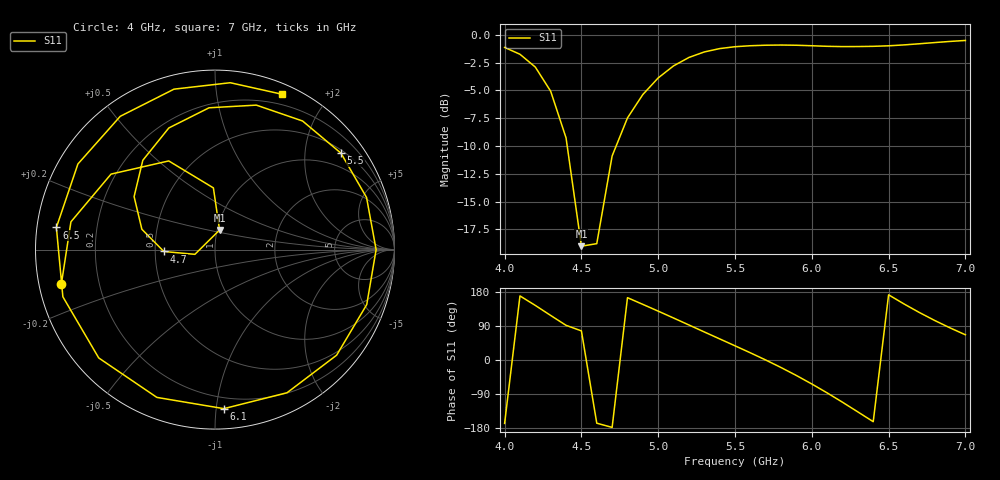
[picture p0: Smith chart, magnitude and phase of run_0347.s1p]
! Touchstone file exported from HFSS 2024.2.0
!  File:  C:/Users/wsak9/Desktop/Sim Fast/Widenad Patch/WP_AI_V1_sweep.aedt
!  Generated:  05:43:24 AM Oct 14, 2026
!  Design:  A1_model
!  Project:  WP_AI_V1_sweep
!  Setup:  Setup1
!  Solution:  Sweep
! Variables:
!  Air_gap = 4.7mm
!  Curve_Amp1 = 2.09
!  Curve_len1 = 1
!  Curve_pos = 12.785mm
!  Extra = 4.94mm
!  H_sub = 0.79mm
!  L_Patch = 21.57mm
!  L_Patch1 = 17.27mm
!  Sx = 4.43mm
!  Sy = 2.32mm
!  WS = 1.33mm
!  W_Patch = 16.37mm
!  W_Patch1 = 12.33mm
!Data is not renormalized
# GHz S MA
! Terminal data exported
! Port[1] = 1
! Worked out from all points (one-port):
!   31 points, 4 GHz to 7 GHz, reference per port
!   lowest |S11| = -19.0 dB at 4.5 GHz (marker M1), VSWR 1.25
!   |S11| at or under -10 dB: 4.407 GHz to 4.726 GHz (318.8 MHz wide, 6.98 % of centre)
!   S11 on the Smith chart (normalised r, x): 4 GHz: 0.07, -0.11; 4.7 GHz: 0.56, -0.01; 5.5 GHz: 0.58, +2.84; 6.1 GHz: 0.13, -1.05; 6.5 GHz: 0.06, +0.07; 7 GHz: 0.10, +1.52
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4  0.8774 -167.3
4.1  0.8174 169.1
4.2  0.7158 144.0
4.3  0.5573 117.6
4.4  0.3439 91.5
4.5  0.1121 76.9
4.6  0.115 -166.7
4.7  0.2851 -177.9
4.8  0.4229 164.5
4.9  0.5388 146.8
5  0.6398 128.9
5.2  0.7908 92.4
5.3  0.8372 74.0
5.5  0.8838 37.5
5.7  0.8977 -0.0
5.8  0.8992 -19.9
5.9  0.8974 -41.0
6  0.8928 -63.3
6.1  0.8875 -86.8
6.2  0.8849 -111.5
6.3  0.8854 -137.0
6.4  0.8874 -162.8
6.5  0.8923 172.0
6.6  0.9005 148.0
6.7  0.9112 125.4
6.8  0.9226 104.3
6.9  0.9336 84.8
7  0.943 66.5
